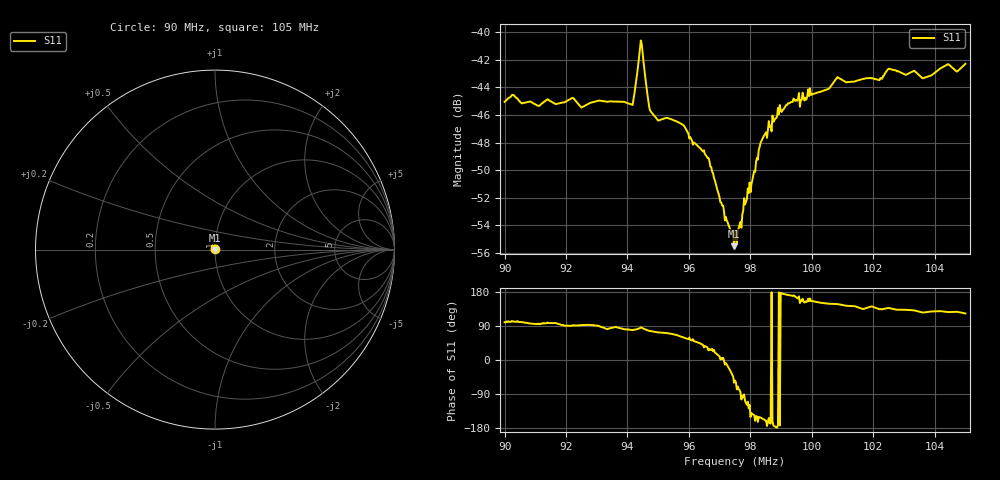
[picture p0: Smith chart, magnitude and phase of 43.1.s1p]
# HZ S RI R 50
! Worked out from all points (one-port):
!   505 points, 90 MHz to 105 MHz, reference 50 ohm
!   lowest |S11| = -55.5 dB at 97.47 MHz (marker M1), VSWR 1.00, Z = 50.1 - j0.145 ohm
!   |S11| at or under -10 dB: start of sweep to end of sweep
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9e7  -0.000933 0.00551
9.026786e7  -0.00119 0.00581
9.107143e7  -0.000459 0.0054
9.187501e7  -0.000213 0.00555
9.375001e7  0.000564 0.00557
9.416668e7  0.00104 0.00534
9.443454e7  0.000723 0.0093
9.449406e7  0.000912 0.00832
9.467263e7  0.00121 0.00557
9.479168e7  0.00124 0.00495
9.562502e7  0.00199 0.00429
9.660716e7  0.00296 0.00187
9.723217e7  0.00203 -0.000422
9.747026e7  0.000842 -0.00145
9.750002e7  0.00109 -0.00152
9.76786e7  0.000171 -0.00205
9.839288e7  -0.00372 -0.00172
9.89286e7  -0.00504 0.000145
9.937503e7  -0.00548 0.00108
1.00506e8  -0.00531 0.00319
1.008334e8  -0.0058 0.00369
1.0125e8  -0.00525 0.00401
1.022322e8  -0.00478 0.00486
1.025298e8  -0.00537 0.00504
1.03125e8  -0.00473 0.00524
1.036608e8  -0.00397 0.00556
1.044048e8  -0.00455 0.00612
1.05e8  -0.00416 0.00645
